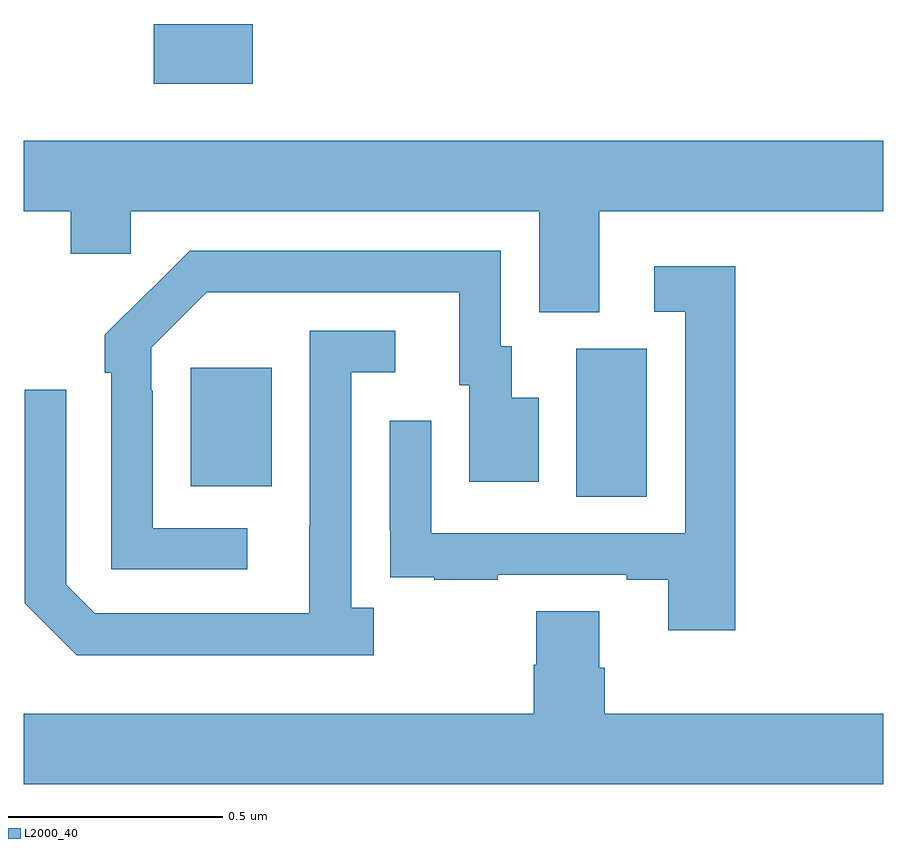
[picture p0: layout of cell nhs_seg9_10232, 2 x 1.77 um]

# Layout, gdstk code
import gdstk
lib = gdstk.Library(unit=1e-6, precision=1e-09)
def R(c, l, rs):  # rectangles x0, y0, x1, y1
    for r in rs: c.add(gdstk.rectangle(r[:2], r[2:], *l))
def P(c, l, *ps):  # polygons
    for p in ps: c.add(gdstk.Polygon(p, *l))
L2000_40 = (2000, 40)

nhs_seg9_10232 = lib.new_cell('nhs_seg9_10232')
R(nhs_seg9_10232, L2000_40, [(241.286,1218.4,241.45,1218.744), (240.389,1218.425,240.577,1218.7), (240.303,1219.361,240.533,1219.5)])
P(nhs_seg9_10232, L2000_40, [(241.339,1219.064),(242,1219.064),(242,1219.228),(240,1219.228),(240,1219.064),(240.11,1219.064),(240.11,1218.966),(240.249,1218.966),(240.249,1219.064),(241.199,1219.064),(241.199,1218.829),(241.339,1218.829)],
  [(240.52,1218.327),(240.3,1218.327),(240.3,1218.647),(240.297,1218.647),(240.297,1218.747),(240.426,1218.876),(241.013,1218.876),(241.013,1218.66),(241.037,1218.66),(241.037,1218.435),(241.198,1218.435),(241.198,1218.631),(241.135,1218.631),(241.135,1218.75),(241.11,1218.75),(241.11,1218.972),(240.386,1218.972),(240.295,1218.881),(240.294,1218.882),(240.189,1218.777),(240.189,1218.689),(240.204,1218.689),(240.204,1218.231),(240.52,1218.231)],
  [(241.655,1218.937),(241.467,1218.937),(241.467,1218.831),(241.539,1218.831),(241.539,1218.315),(240.948,1218.315),(240.948,1218.577),(240.852,1218.577),(240.852,1218.322),(240.853,1218.322),(240.853,1218.213),(240.955,1218.213),(240.955,1218.207),(241.103,1218.207),(241.103,1218.219),(241.403,1218.219),(241.403,1218.207),(241.499,1218.207),(241.499,1218.09),(241.655,1218.09)],
  [(240.814,1218.142),(240.762,1218.142),(240.762,1218.69),(240.865,1218.69),(240.865,1218.786),(240.666,1218.786),(240.666,1218.329),(240.665,1218.329),(240.665,1218.129),(240.165,1218.129),(240.099,1218.195),(240.099,1218.649),(240.003,1218.649),(240.003,1218.153),(240.124,1218.032),(240.814,1218.032)],
  [(242,1217.896),(241.352,1217.896),(241.352,1218.002),(241.339,1218.002),(241.339,1218.134),(241.192,1218.134),(241.192,1218.009),(241.187,1218.009),(241.187,1217.896),(240,1217.896),(240,1217.732),(242,1217.732)])

lib.write_gds('nhs_seg9_10232.gds')
